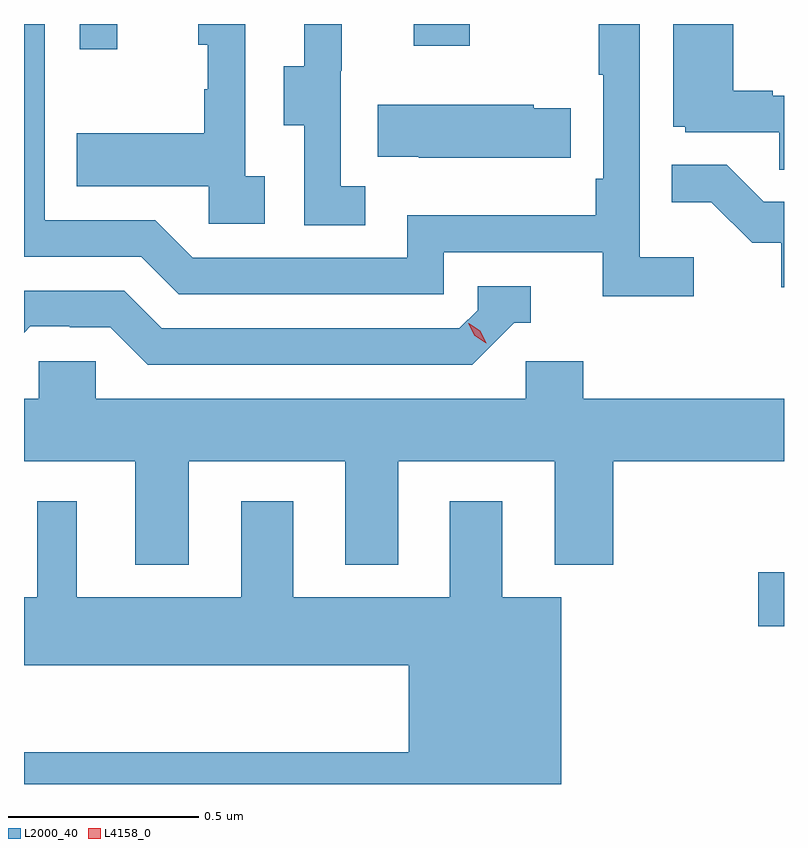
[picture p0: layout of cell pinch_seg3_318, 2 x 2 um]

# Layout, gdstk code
import gdstk
lib = gdstk.Library(unit=1e-6, precision=1e-09)
def R(c, l, rs):  # rectangles x0, y0, x1, y1
    for r in rs: c.add(gdstk.rectangle(r[:2], r[2:], *l))
def P(c, l, *ps):  # polygons
    for p in ps: c.add(gdstk.Polygon(p, *l))
L2000_40 = (2000, 40)
L4158_0 = (4158, 0)

pinch_seg3_318 = lib.new_cell('pinch_seg3_318')
R(pinch_seg3_318, L2000_40, [(1003.386,716.465,1003.454,716.607), (1001.601,717.984,1001.699,718.05), (1002.479,717.993,1002.627,718.05)])
P(pinch_seg3_318, L2000_40, [(1003.454,717.861),(1003.425,717.861),(1003.425,717.874),(1003.321,717.874),(1003.321,718.05),(1003.163,718.05),(1003.163,717.78),(1003.194,717.78),(1003.194,717.765),(1003.441,717.765),(1003.441,717.667),(1003.454,717.667)],
  [(1002.352,717.623),(1002.288,717.623),(1002.288,717.927),(1002.29,717.927),(1002.29,718.05),(1002.191,718.05),(1002.191,717.939),(1002.137,717.939),(1002.137,717.784),(1002.192,717.784),(1002.192,717.52),(1002.352,717.52)],
  [(1002.088,717.65),(1002.036,717.65),(1002.036,718.05),(1001.912,718.05),(1001.912,717.996),(1001.938,717.996),(1001.938,717.878),(1001.928,717.878),(1001.928,717.763),(1001.593,717.763),(1001.593,717.623),(1001.94,717.623),(1001.94,717.525),(1002.088,717.525)],
  [(1003.216,717.436),(1003.074,717.436),(1003.074,718.05),(1002.966,718.05),(1002.966,717.916),(1002.978,717.916),(1002.978,717.643),(1002.958,717.643),(1002.958,717.547),(1002.462,717.547),(1002.462,717.435),(1001.898,717.435),(1001.799,717.534),(1001.508,717.534),(1001.508,718.05),(1001.454,718.05),(1001.454,717.438),(1001.762,717.438),(1001.861,717.339),(1002.558,717.339),(1002.558,717.45),(1002.977,717.45),(1002.977,717.334),(1003.216,717.334)],
  [(1002.893,717.828),(1002.795,717.828),(1002.795,717.838),(1002.385,717.838),(1002.385,717.701),(1002.493,717.701),(1002.493,717.698),(1002.893,717.698)],
  [(1003.454,717.582),(1003.401,717.582),(1003.303,717.68),(1003.159,717.68),(1003.159,717.581),(1003.263,717.581),(1003.37,717.474),(1003.447,717.474),(1003.447,717.357),(1003.454,717.357)],
  [(1002.744,717.264),(1002.787,717.264),(1002.787,717.36),(1002.648,717.36),(1002.648,717.297),(1002.6,717.249),(1001.817,717.249),(1001.718,717.348),(1001.454,717.348),(1001.454,717.238),(1001.471,717.255),(1001.574,717.255),(1001.574,717.252),(1001.681,717.252),(1001.78,717.153),(1002.633,717.153)],
  [(1001.887,716.9),(1002.299,716.9),(1002.299,716.627),(1002.439,716.627),(1002.439,716.9),(1002.851,716.9),(1002.851,716.627),(1003.004,716.627),(1003.004,716.9),(1003.454,716.9),(1003.454,717.064),(1002.926,717.064),(1002.926,717.162),(1002.774,717.162),(1002.774,717.064),(1001.643,717.064),(1001.643,717.162),(1001.493,717.162),(1001.493,717.064),(1001.454,717.064),(1001.454,716.9),(1001.747,716.9),(1001.747,716.627),(1001.887,716.627)],
  [(1002.868,716.542),(1002.712,716.542),(1002.712,716.794),(1002.575,716.794),(1002.575,716.542),(1002.163,716.542),(1002.163,716.794),(1002.026,716.794),(1002.026,716.542),(1001.593,716.542),(1001.593,716.794),(1001.489,716.794),(1001.489,716.542),(1001.454,716.542),(1001.454,716.363),(1002.467,716.363),(1002.467,716.134),(1001.454,716.134),(1001.454,716.05),(1002.868,716.05)])
P(pinch_seg3_318, L4158_0, [(1002.67,717.21),(1002.64,717.23),(1002.623,717.263),(1002.623,717.263),(1002.624,717.263),(1002.654,717.243),(1002.671,717.21),(1002.671,717.21)])

lib.write_gds('pinch_seg3_318.gds')
